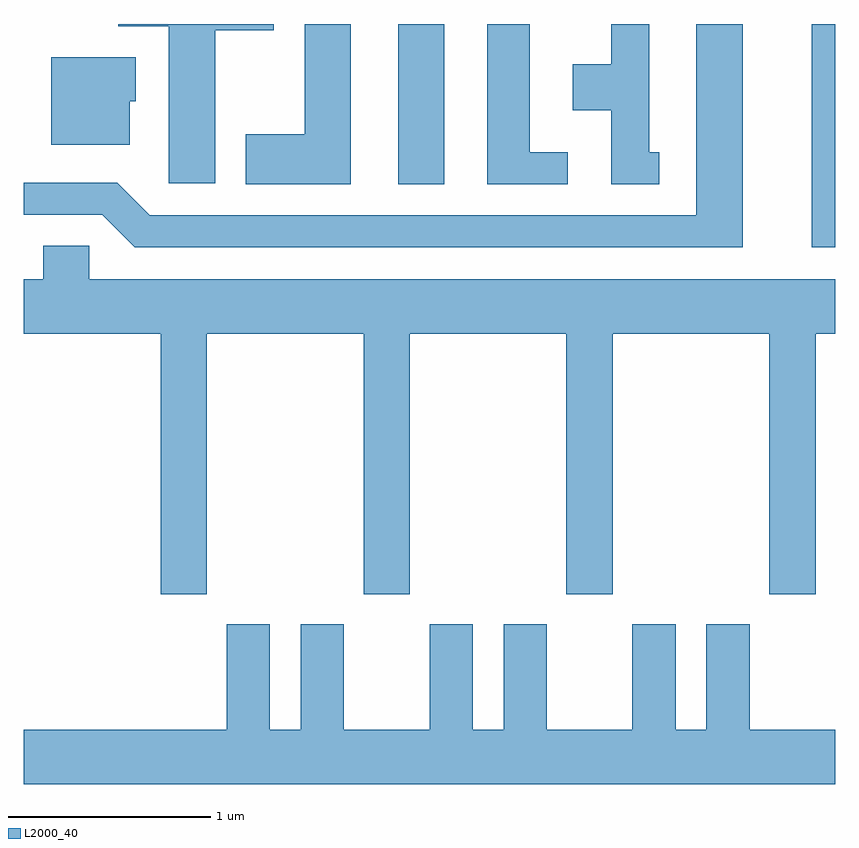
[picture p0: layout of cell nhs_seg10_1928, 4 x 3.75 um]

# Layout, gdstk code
import gdstk
lib = gdstk.Library(unit=1e-6, precision=1e-09)
def R(c, l, rs):  # rectangles x0, y0, x1, y1
    for r in rs: c.add(gdstk.rectangle(r[:2], r[2:], *l))
def P(c, l, *ps):  # polygons
    for p in ps: c.add(gdstk.Polygon(p, *l))
L2000_40 = (2000, 40)

nhs_seg10_1928 = lib.new_cell('nhs_seg10_1928')
R(nhs_seg10_1928, L2000_40, [(245.496,2145.421,245.611,2146.522), (243.456,2145.731,243.684,2146.522)])
P(nhs_seg10_1928, L2000_40, [(243.224,2146.522),(242.996,2146.522),(242.996,2145.979),(242.706,2145.979),(242.706,2145.731),(243.224,2145.731)],
  [(242.554,2146.491),(242.844,2146.491),(242.844,2146.522),(242.076,2146.522),(242.076,2146.511),(242.326,2146.511),(242.326,2145.736),(242.554,2145.736)],
  [(245.154,2146.522),(244.926,2146.522),(244.926,2145.579),(242.232,2145.579),(242.072,2145.739),(241.611,2145.739),(241.611,2145.581),(241.999,2145.581),(242.159,2145.421),(245.154,2145.421)],
  [(244.743,2145.889),(244.694,2145.889),(244.694,2146.522),(244.506,2146.522),(244.506,2146.324),(244.316,2146.324),(244.316,2146.096),(244.506,2146.096),(244.506,2145.731),(244.743,2145.731)],
  [(244.293,2145.889),(244.104,2145.889),(244.104,2146.522),(243.896,2146.522),(243.896,2145.731),(244.293,2145.731)],
  [(242.134,2146.141),(242.164,2146.141),(242.164,2146.359),(241.746,2146.359),(241.746,2145.926),(242.134,2145.926)],
  [(242.514,2144.996),(243.286,2144.996),(243.286,2143.711),(243.514,2143.711),(243.514,2144.996),(244.286,2144.996),(244.286,2143.711),(244.514,2143.711),(244.514,2144.996),(245.286,2144.996),(245.286,2143.711),(245.514,2143.711),(245.514,2144.996),(245.611,2144.996),(245.611,2145.264),(241.934,2145.264),(241.934,2145.429),(241.706,2145.429),(241.706,2145.264),(241.611,2145.264),(241.611,2144.996),(242.286,2144.996),(242.286,2143.711),(242.514,2143.711)],
  [(245.611,2143.044),(245.189,2143.044),(245.189,2143.564),(244.976,2143.564),(244.976,2143.044),(244.824,2143.044),(244.824,2143.564),(244.611,2143.564),(244.611,2143.044),(244.189,2143.044),(244.189,2143.564),(243.976,2143.564),(243.976,2143.044),(243.824,2143.044),(243.824,2143.564),(243.611,2143.564),(243.611,2143.044),(243.189,2143.044),(243.189,2143.564),(242.976,2143.564),(242.976,2143.044),(242.824,2143.044),(242.824,2143.564),(242.611,2143.564),(242.611,2143.044),(241.611,2143.044),(241.611,2142.776),(245.611,2142.776)])

lib.write_gds('nhs_seg10_1928.gds')
